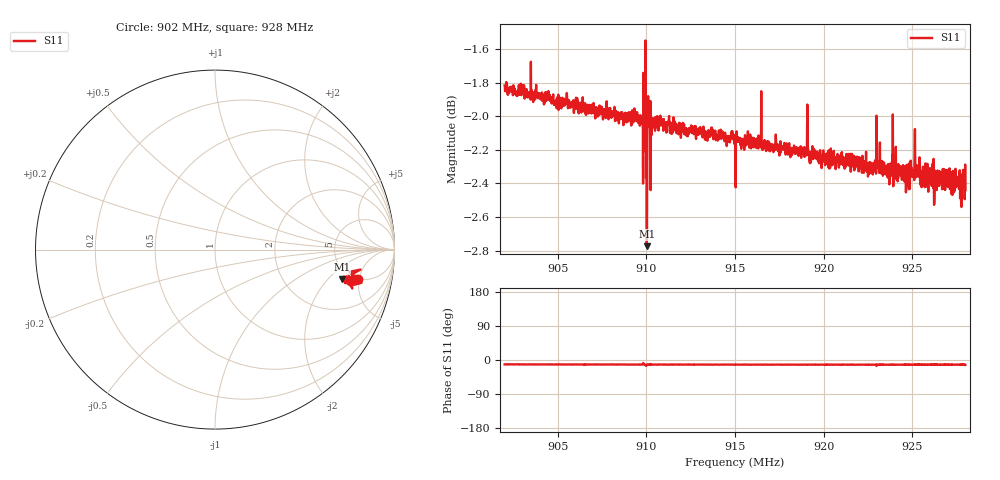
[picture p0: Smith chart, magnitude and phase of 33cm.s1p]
! Calibrated averaged scanner-service zoom
# Hz S RI R 50
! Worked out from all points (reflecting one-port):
!   2001 points, 902 MHz to 928 MHz, reference 50 ohm
!   lowest |S11| = -2.8 dB at 910.02 MHz (marker M1), VSWR 6.32, Z = 209 - j147 ohm
!   phase of S11 starts at -12 deg and turns -1 deg over the sweep
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9.02e8  0.7945 -0.1641
9.0525e8  0.7879 -0.1627
9.085e8  0.7755 -0.1647
9.09644e8  0.7771 -0.1666
9.09709e8  0.7749 -0.1621
9.09761e8  0.7753 -0.1667
9.09839e8  0.7631 -0.1374
9.09917e8  0.7757 -0.1697
9.10021e8  0.7074 -0.1659
9.10112e8  0.7788 -0.1651
9.10164e8  0.7706 -0.1683
9.1019e8  0.7735 -0.1694
9.10697e8  0.7738 -0.1622
9.1175e8  0.77 -0.1644
9.15e8  0.7668 -0.1646
9.1825e8  0.7596 -0.1647
9.19004e8  0.7561 -0.1678
9.19277e8  0.754 -0.1657
9.215e8  0.7565 -0.1644
9.22566e8  0.7511 -0.1672
9.23099e8  0.7511 -0.1661
9.2358e8  0.7485 -0.1637
9.23944e8  0.7518 -0.1622
9.2475e8  0.7393 -0.1663
9.25257e8  0.7495 -0.1652
9.25582e8  0.7447 -0.1589
9.27857e8  0.7402 -0.1678
9.28e8  0.7357 -0.17
